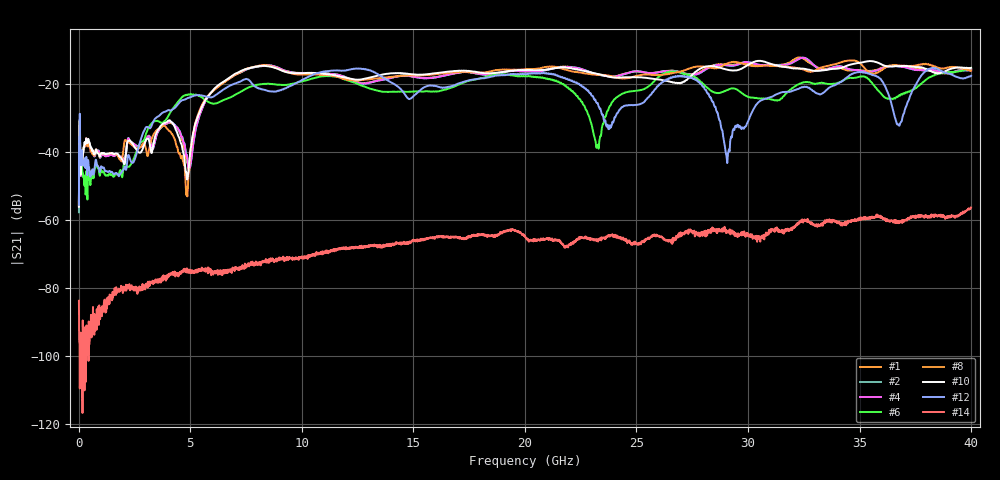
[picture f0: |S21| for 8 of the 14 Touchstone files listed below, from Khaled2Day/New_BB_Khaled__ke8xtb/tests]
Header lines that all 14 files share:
!Keysight Technologies,N5222B,MY61257109,A.17.25.03
!Correction: S11(C  2-Port  )
!S21(C  2-Port  )
!S12(C  2-Port  )
!S22(C  2-Port  )
!S2P File: Measurements: S11, S21, S12, S22:
# Hz S  dB  R 50
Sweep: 10 MHz to 40 GHz
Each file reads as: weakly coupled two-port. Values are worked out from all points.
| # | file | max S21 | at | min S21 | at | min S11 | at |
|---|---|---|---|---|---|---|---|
| 1 | CH1_P2_circut_P1_intrinsic_btm_0dBm.s2p | -12.00 dB | 32.34 GHz | -55.6 dB | 10 MHz | -3.8 dB | 39.91 GHz |
| 2 | CH1_P2_circut_P1_intrinsic_btm_0dBm_r.s2p | -12.12 dB | 32.42 GHz | -57.6 dB | 10 MHz | -3.8 dB | 39.98 GHz |
| 3 | CH1_P2_circut_P1_intrinsic_btm_4dBm.s2p | -12.09 dB | 32.45 GHz | -56.7 dB | 10 MHz | -3.8 dB | 39.97 GHz |
| 4 | CH1_P2_circut_P1_intrinsic_btm_6dBm.s2p | -12.10 dB | 32.46 GHz | -55.9 dB | 10 MHz | -3.8 dB | 39.97 GHz |
| 5 | CH1_P2_circut_P1_intrinsic_mid_0dBm.s2p | -15.01 dB | 39.71 GHz | -55.9 dB | 10 MHz | -5.8 dB | 37.9 GHz |
| 6 | CH2_P2_circut_P1_intrinsic_mid_0dBm.s2p | -15.14 dB | 40 GHz | -54.5 dB | 10 MHz | -6.3 dB | 39.92 GHz |
| 7 | CH2_P2_circut_P1_intrinsic_top_0dBm.s2p | -12.17 dB | 40 GHz | -56.5 dB | 250 MHz | -9.5 dB | 40 GHz |
| 8 | CH3_P2_circut_P1_intrinsic_btm_0dBm.s2p | -12.91 dB | 34.66 GHz | -55.4 dB | 10 MHz | -4.1 dB | 39.82 GHz |
| 9 | CH3_P2_circut_P1_intrinsic_mid_0dBm.s2p | -14.68 dB | 40 GHz | -59.5 dB | 23.24 GHz | -6.4 dB | 39.92 GHz |
| 10 | CH4_P2_circut_P1_intrinsic_btm_0dBm.s2p | -13.04 dB | 30.44 GHz | -56.0 dB | 10 MHz | -4.1 dB | 39.82 GHz |
| 11 | CH4_P2_circut_P1_intrinsic_mid_0dBm.s2p | -15.21 dB | 40 GHz | -55.0 dB | 10 MHz | -6.0 dB | 39.92 GHz |
| 12 | CH10_P2_circut_P1_intrinsic_mid_0dBm.s2p | -15.12 dB | 38.28 GHz | -55.4 dB | 10 MHz | -6.0 dB | 38.5 GHz |
| 13 | CH10_P2_circut_P1_intrinsic_top_0dBm.s2p | -11.87 dB | 38.6 GHz | -55.7 dB | 10 MHz | -9.0 dB | 39.92 GHz |
| 14 | probeUP.s2p | -56.22 dB | 40 GHz | -116.7 dB | 170 MHz | -1.7 dB | 36.75 GHz |
